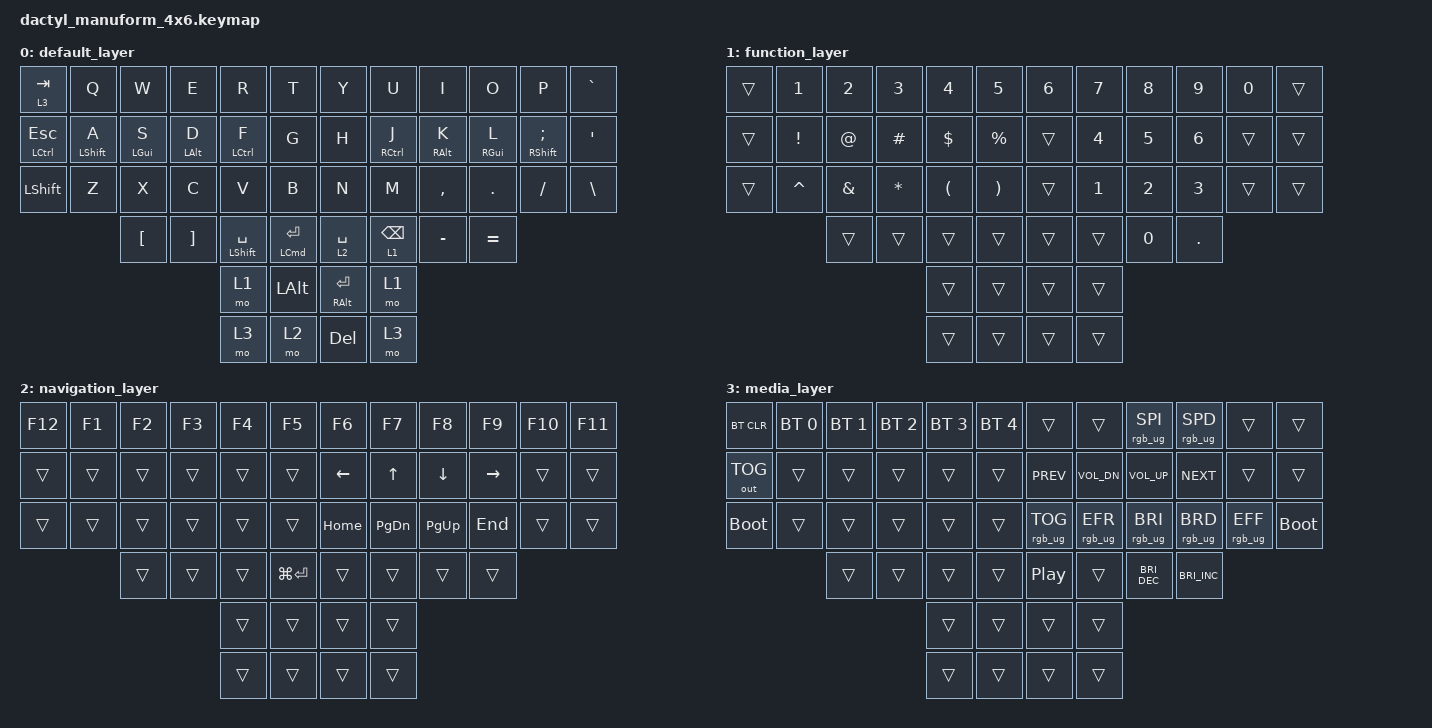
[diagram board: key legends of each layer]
#include <behaviors.dtsi>
#include <dt-bindings/zmk/bt.h>
#include <dt-bindings/zmk/keys.h>
#include <dt-bindings/zmk/outputs.h>
#include <dt-bindings/zmk/rgb.h>

#define WIN 0
#define MAC 1
#define GAME 2
#define FUN 3
#define NAV 4
#define MED 5

/ {
    behaviors {
        lh_pht: left_positional_hold_tap {
            compatible = "zmk,behavior-hold-tap";
            #binding-cells = <2>;
            flavor = "balanced";
            tapping-term-ms = <400>;                        // <---[[produces tap if held longer than tapping-term-ms]]
            quick-tap-ms = <200>;
            bindings = <&kp>, <&kp>;

            hold-trigger-key-positions = <6 7 8 9 10 11 18 19 20 21 22 23 34 35 46 47 30 31 32 33 42 43 44 45 55 56 57 58 54 55>;    // <---[[right-hand keys]]
            hold-trigger-on-release;
            require-prior-idle-ms = <150>;
        };
    };

    behaviors {
        rh_pht: right_positional_hold_tap {
            compatible = "zmk,behavior-hold-tap";
            #binding-cells = <2>;
            flavor = "balanced";
            tapping-term-ms = <400>;                        // <---[[produces tap if held longer than tapping-term-ms]]
            quick-tap-ms = <200>;
            bindings = <&kp>, <&kp>;

            hold-trigger-key-positions = <0 1 2 3 4 0 1 2 3 4 5 12 13 14 15 16 17 24 25 26 27 28 29 36 37 38 39 40 41 48 49 50 51 52 53>;    // <---[[right-hand keys]]
            hold-trigger-on-release;
            require-prior-idle-ms = <150>;
        };
    };

    keymap {
        compatible = "zmk,keymap";

        default_layer {
            bindings = <
&lt 3 TAB      &kp Q                 &kp W               &kp E               &kp R                 &kp T                     &kp Y                &kp U            &kp I                &kp O                &kp P                          &kp GRAVE
&mt LCTRL ESC  &lh_pht LEFT_SHIFT A  &lh_pht LEFT_GUI S  &lh_pht LEFT_ALT D  &lh_pht LCTRL F       &kp G                     &kp H                &rh_pht RCTRL J  &rh_pht RIGHT_ALT K  &rh_pht RIGHT_GUI L  &rh_pht RIGHT_SHIFT SEMICOLON  &kp SQT
&kp LSHFT      &kp Z                 &kp X               &kp C               &kp V                 &kp B                     &kp N                &kp M            &kp COMMA            &kp DOT              &kp FSLH                       &kp BSLH
                                     &kp LBKT            &kp RBKT            &mt LEFT_SHIFT SPACE  &mt LEFT_COMMAND ENTER    &lt 2 SPACE          &lt 1 BACKSPACE  &kp MINUS            &kp EQUAL
                                                                             &mo 1                 &kp LEFT_ALT              &mt RIGHT_ALT ENTER  &mo 1
                                                                             &mo 3                 &mo 2                     &kp DELETE           &mo 3
            >;
        };

        function_layer {
            bindings = <
&trans  &kp N1     &kp N2    &kp N3    &kp N4    &kp N5       &kp N6  &kp N7  &kp N8  &kp N9   &kp N0  &trans
&trans  &kp EXCL   &kp AT    &kp HASH  &kp DLLR  &kp PRCNT    &trans  &kp N4  &kp N5  &kp N6   &trans  &trans
&trans  &kp CARET  &kp AMPS  &kp STAR  &kp LPAR  &kp RPAR     &trans  &kp N1  &kp N2  &kp N3   &trans  &trans
                   &trans    &trans    &trans    &trans       &trans  &trans  &kp N0  &kp DOT
                                       &trans    &trans       &trans  &trans
                                       &trans    &trans       &trans  &trans
            >;
        };

        navigation_layer {
            bindings = <
&kp F12  &kp F1  &kp F2  &kp F3  &kp F4  &kp F5           &kp F6    &kp F7         &kp F8     &kp F9     &kp F10  &kp F11
&trans   &trans  &trans  &trans  &trans  &trans           &kp LEFT  &kp UP         &kp DOWN   &kp RIGHT  &trans   &trans
&trans   &trans  &trans  &trans  &trans  &trans           &kp HOME  &kp PAGE_DOWN  &kp PG_UP  &kp END    &trans   &trans
                 &trans  &trans  &trans  &kp LG(ENTER)    &trans    &trans         &trans     &trans
                                 &trans  &trans           &trans    &trans
                                 &trans  &trans           &trans    &trans
            >;
        };

        media_layer {
            bindings = <
&bt BT_CLR    &bt BT_SEL 0  &bt BT_SEL 1  &bt BT_SEL 2  &bt BT_SEL 3  &bt BT_SEL 4    &trans            &trans           &rgb_ug RGB_SPI       &rgb_ug RGB_SPD       &trans           &trans
&out OUT_TOG  &trans        &trans        &trans        &trans        &trans          &kp C_PREV        &kp C_VOL_DN     &kp C_VOL_UP          &kp C_NEXT            &trans           &trans
&bootloader   &trans        &trans        &trans        &trans        &trans          &rgb_ug RGB_TOG   &rgb_ug RGB_EFR  &rgb_ug RGB_BRI       &rgb_ug RGB_BRD       &rgb_ug RGB_EFF  &bootloader
                            &trans        &trans        &trans        &trans          &kp C_PLAY_PAUSE  &trans           &kp C_BRIGHTNESS_DEC  &kp C_BRIGHTNESS_INC
                                                        &trans        &trans          &trans            &trans
                                                        &trans        &trans          &trans            &trans
            >;
        };
    };
};
